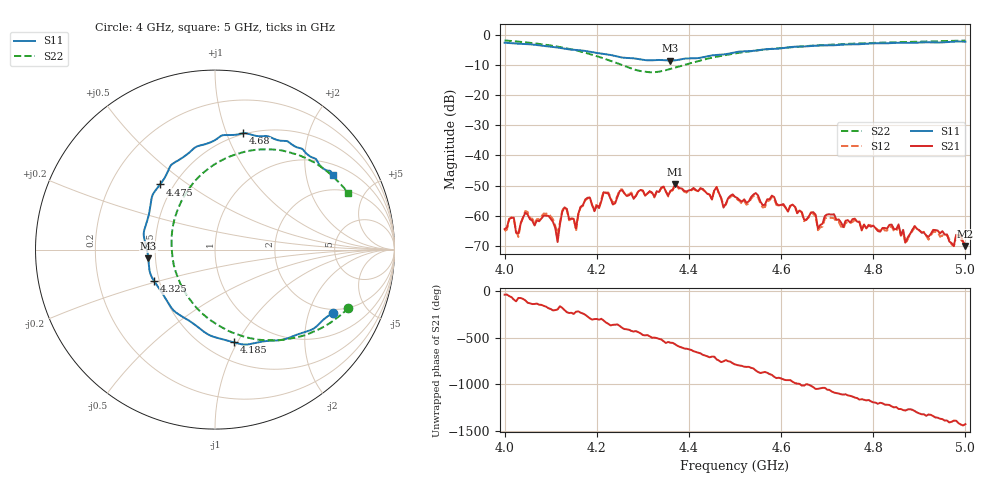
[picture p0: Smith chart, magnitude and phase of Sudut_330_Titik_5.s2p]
# Hz S RI R 50
! CMT, C1220, 16058040, 17.2.0/1
! Date: 15/08/2018 12:24:05
! Data: Format (Calibration Info)
! Freq  S11: Re/Im (F2)  S21: Re/Im (F2)  S12: Re/Im (F2)  S22: Re/Im (F2)
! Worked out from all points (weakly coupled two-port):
!   201 points, 4 GHz to 5 GHz, reference 50 ohm
!   highest |S21| = -49.49 dB at 4.37 GHz (marker M1); lowest = -70.1 dB at 5 GHz (marker M2)
!   lowest |S11| = -8.5 dB at 4.36 GHz (marker M3), VSWR 2.20, Z = 22.8 - j2.53 ohm
!   |S11| at or under -10 dB: nowhere
!   |S22| runs from -12.4 to -1.8 dB; largest |S21 - S12| = 0.00019
!   S11 on the Smith chart (normalised r, x): 4 GHz: 1.85, -2.90; 4.185 GHz: 0.68, -0.97; 4.325 GHz: 0.47, -0.19; 4.475 GHz: 0.42, +0.39; 4.68 GHz: 0.49, +1.15; 5 GHz: 1.37, +2.85
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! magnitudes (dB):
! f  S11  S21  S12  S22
! 4 GHz  -2.6  -64.4  -65.0  -1.8
! 4.095 GHz  -3.8  -60.0  -59.2  -3.4
! 4.115 GHz  -4.2  -68.7  -66.2  -3.9
! 4.13 GHz  -4.5  -57.2  -57.0  -4.3
! 4.155 GHz  -5.0  -64.2  -65.1  -5.1
! 4.17 GHz  -5.2  -56.5  -56.7  -5.7
! 4.185 GHz  -5.6  -54.0  -53.9  -6.3
! 4.195 GHz  -5.8  -58.5  -58.3  -6.8
! 4.215 GHz  -6.3  -52.2  -51.8  -7.8
! 4.325 GHz  -8.4  -53.7  -53.9  -12.4
! 4.335 GHz  -8.3  -52.1  -52.2  -12.2
! 4.36 GHz  -8.5  -51.7  -51.9  -11.3
! 4.37 GHz  -8.4  -49.5  -49.6  -10.9
! 4.46 GHz  -6.6  -50.5  -50.5  -7.2
! 4.475 GHz  -6.5  -57.3  -56.7  -6.8
! 4.5 GHz  -5.8  -53.7  -54.1  -6.1
! 4.67 GHz  -3.6  -58.8  -59.4  -3.5
! 4.68 GHz  -3.5  -64.3  -64.8  -3.4
! 4.705 GHz  -3.5  -59.5  -60.6  -3.2
! 4.835 GHz  -2.7  -63.0  -63.7  -2.5
! 4.87 GHz  -2.6  -68.9  -69.3  -2.3
! 5 GHz  -2.2  -70.1  -69.6  -1.9
